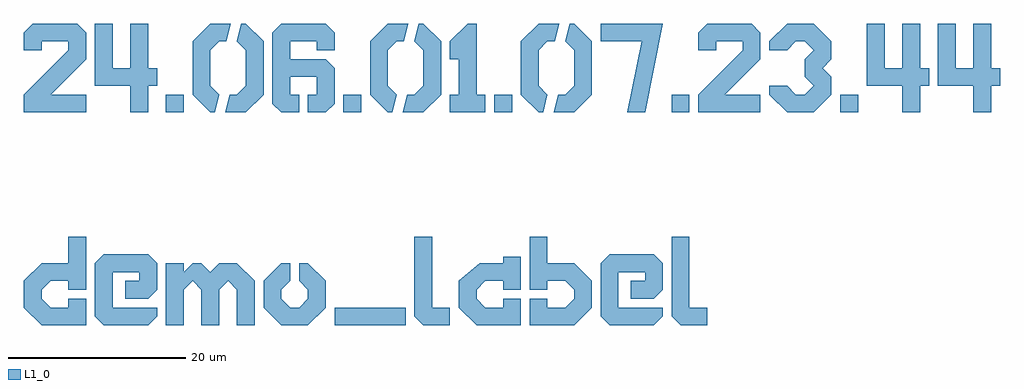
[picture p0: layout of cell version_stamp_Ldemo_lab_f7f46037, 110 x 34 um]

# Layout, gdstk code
import gdstk
lib = gdstk.Library(unit=1e-6, precision=1e-09)
def R(c, l, rs):  # rectangles x0, y0, x1, y1
    for r in rs: c.add(gdstk.rectangle(r[:2], r[2:], *l))
def P(c, l, *ps):  # polygons
    for p in ps: c.add(gdstk.Polygon(p, *l))
L1_0 = (1, 0)

version_stamp_ldemo_lab_ = lib.new_cell('version_stamp_Ldemo_lab_f7f46037')
R(version_stamp_ldemo_lab_, L1_0, [(36,-12,44,-10), (17,12,19,14), (37,12,39,14), (54,12,56,14), (74,12,76,14), (93,12,95,14)])
P(version_stamp_ldemo_lab_, L1_0, [(17,-12),(17,-5),(19,-5),(19,-6),(20,-5),(21,-5),(22,-6),(23,-5),(25,-5),(27,-7),(27,-12),(25,-12),(25,-8),(24,-7),(23,-8),(23,-12),(21,-12),(21,-8),(20,-7),(19,-8),(19,-12)],
  [(30,-12),(28,-10),(28,-7),(30,-5),(31,-5),(31,-7),(30,-8),(30,-9),(31,-10),(32,-10),(33,-9),(33,-8),(32,-7),(32,-5),(33,-5),(35,-7),(35,-10),(33,-12)],
  [(52,-12),(50,-10),(50,-7),(52.34,-5),(55,-5),(55,-4.25),(57,-4.25),(57,-8),(55,-8),(55,-7),(53,-7),(52,-8),(52,-9),(53,-10),(55,-10),(55,-9),(57,-9),(57,-12)],
  [(10,-12),(9,-11),(9,-5),(10,-4),(15,-4),(16,-5),(16,-8),(15,-9),(12.4,-9),(12.4,-7),(14,-7),(14,-6),(11,-6),(11,-10),(16,-10),(16,-11),(15,-12)],
  [(67,-12),(66,-11),(66,-5),(67,-4),(72,-4),(73,-5),(73,-8),(72,-9),(69.4,-9),(69.4,-7),(71,-7),(71,-6),(68,-6),(68,-10),(73,-10),(73,-11),(72,-12)],
  [(3,-12),(1,-10),(1,-7),(3,-5),(6,-5),(6,-2),(8,-2),(8,-8),(6,-8),(6,-7),(4,-7),(3,-8),(3,-9),(4,-10),(6,-10),(6,-9),(8,-9),(8,-12)],
  [(46,-12),(45,-11),(45,-2),(47,-2),(47,-10),(49,-10),(49,-12)],
  [(58,-12),(58,-9),(60,-9),(60,-10),(62,-10),(63,-9),(63,-8),(62,-7),(60,-7),(60,-8),(58,-8),(58,-2),(60,-2),(60,-5),(63,-5),(65,-7),(65,-10),(63,-12)],
  [(75,-12),(74,-11),(74,-2),(76,-2),(76,-10),(78,-10),(78,-12)],
  [(1,12),(1,14),(6,19),(6,20),(3,20),(3,19),(1,19),(1,21),(2,22),(7,22),(8,21),(8,18),(4,14),(8,14),(8,12)],
  [(13,12),(13,15),(9,15),(9,22),(11,22),(11,17),(13,17),(13,22),(15,22),(15,17),(16,17),(16,15),(15,15),(15,12)],
  [(22,12),(20,14),(20,20),(22,22),(24.3,22),(23.8,20),(23,20),(22,19),(22,15),(23,14),(22.5,12)],
  [(23.7,12),(24.2,14),(25,14),(26,15),(26,19),(25,20),(25.5,22),(26,22),(28,20),(28,14),(26,12)],
  [(30,12),(29,13),(29,21),(30,22),(35,22),(36,21),(36,19),(34,19),(34,20),(31,20),(31,18),(35,18),(36,17),(36,13),(35,12),(33,12),(33,14),(34,14),(34,16),(31,16),(31,14),(32,14),(32,12)],
  [(42,12),(40,14),(40,20),(42,22),(44.3,22),(43.8,20),(43,20),(42,19),(42,15),(43,14),(42.5,12)],
  [(43.7,12),(44.2,14),(45,14),(46,15),(46,19),(45,20),(45.5,22),(46,22),(48,20),(48,14),(46,12)],
  [(49,12),(49,14),(50,14),(50,18),(49,18),(49,20),(51,22),(52,22),(52,14),(53,14),(53,12)],
  [(59,12),(57,14),(57,20),(59,22),(61.3,22),(60.8,20),(60,20),(59,19),(59,15),(60,14),(59.5,12)],
  [(60.7,12),(61.2,14),(62,14),(63,15),(63,19),(62,20),(62.5,22),(63,22),(65,20),(65,14),(63,12)],
  [(69,12),(70.6,20),(66,20),(66,22),(73,22),(71,12)],
  [(77,12),(77,14),(82,19),(82,20),(79,20),(79,19),(77,19),(77,21),(78,22),(83,22),(84,21),(84,18),(80,14),(84,14),(84,12)],
  [(87,12),(85,14),(85,15),(87,15),(88,14),(89,14),(90,15),(89,16),(89,18),(90,19),(89,20),(88,20),(87,19),(85,19),(85,20),(87,22),(90,22),(92,20),(92,18),(91,17),(92,16),(92,14),(90,12)],
  [(100,12),(100,15),(96,15),(96,22),(98,22),(98,17),(100,17),(100,22),(102,22),(102,17),(103,17),(103,15),(102,15),(102,12)],
  [(108,12),(108,15),(104,15),(104,22),(106,22),(106,17),(108,17),(108,22),(110,22),(110,17),(111,17),(111,15),(110,15),(110,12)])

lib.write_gds('version_stamp_Ldemo_lab_f7f46037.gds')
